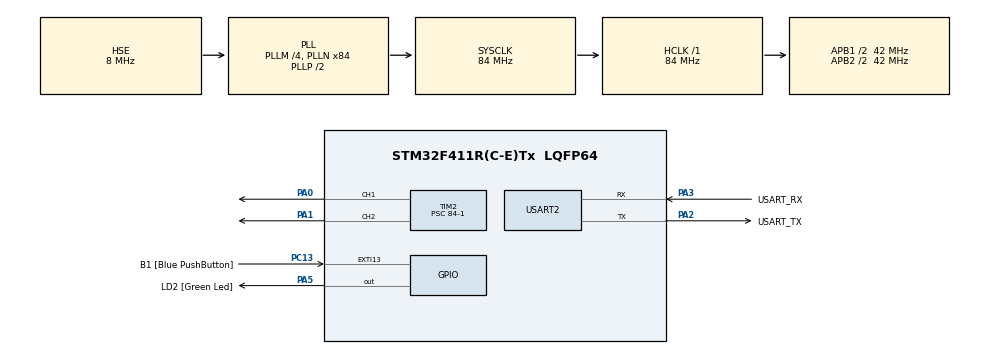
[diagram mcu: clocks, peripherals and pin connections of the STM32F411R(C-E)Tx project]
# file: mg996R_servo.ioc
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Dma.Request0=USART2_RX
Dma.Request1=USART2_TX
Dma.USART2_RX.0.Direction=DMA_PERIPH_TO_MEMORY
Dma.USART2_RX.0.FIFOMode=DMA_FIFOMODE_DISABLE
Dma.USART2_RX.0.Instance=DMA1_Stream5
Dma.USART2_RX.0.MemDataAlignment=DMA_MDATAALIGN_BYTE
Dma.USART2_RX.0.MemInc=DMA_MINC_ENABLE
Dma.USART2_RX.0.Mode=DMA_NORMAL
Dma.USART2_RX.0.PeriphDataAlignment=DMA_PDATAALIGN_BYTE
Dma.USART2_RX.0.PeriphInc=DMA_PINC_DISABLE
Dma.USART2_RX.0.Priority=DMA_PRIORITY_LOW
Dma.USART2_TX.1.Direction=DMA_MEMORY_TO_PERIPH
Dma.USART2_TX.1.FIFOMode=DMA_FIFOMODE_DISABLE
Dma.USART2_TX.1.Instance=DMA1_Stream6
Dma.USART2_TX.1.MemDataAlignment=DMA_MDATAALIGN_BYTE
Dma.USART2_TX.1.MemInc=DMA_MINC_ENABLE
Dma.USART2_TX.1.Mode=DMA_NORMAL
Dma.USART2_TX.1.PeriphDataAlignment=DMA_PDATAALIGN_BYTE
Dma.USART2_TX.1.PeriphInc=DMA_PINC_DISABLE
Dma.USART2_TX.1.Priority=DMA_PRIORITY_LOW
Mcu.Family=STM32F4
Mcu.Name=STM32F411R(C-E)Tx
Mcu.Package=LQFP64
NVIC.DMA1_Stream5_IRQn=true\:0\:0\:false\:false\:true\:false\:true\:true
NVIC.DMA1_Stream6_IRQn=true\:0\:0\:false\:false\:true\:false\:true\:true
NVIC.PriorityGroup=NVIC_PRIORITYGROUP_0
NVIC.USART2_IRQn=true\:0\:0\:false\:false\:true\:true\:true\:true
PA0-WKUP.Signal=S_TIM2_CH1_ETR
PA1.Signal=S_TIM2_CH2
PA13.GPIO_Label=TMS
PA13.Mode=Serial_Wire
PA13.Signal=SYS_JTMS-SWDIO
PA14.GPIO_Label=TCK
PA14.Mode=Serial_Wire
PA14.Signal=SYS_JTCK-SWCLK
PA2.GPIO_Label=USART_TX
PA2.Mode=Asynchronous
PA2.Signal=USART2_TX
PA3.GPIO_Label=USART_RX
PA3.Mode=Asynchronous
PA3.Signal=USART2_RX
PA5.GPIO_Label=LD2 [Green Led]
PA5.Signal=GPIO_Output
PB3.GPIO_Label=SWO
PB3.Signal=SYS_JTDO-SWO
PC13-ANTI_TAMP.GPIO_Label=B1 [Blue PushButton]
PC13-ANTI_TAMP.GPIO_ModeDefaultEXTI=GPIO_MODE_IT_FALLING
PC13-ANTI_TAMP.Signal=GPXTI13
PC14-OSC32_IN.Mode=LSE-External-Oscillator
PC14-OSC32_IN.Signal=RCC_OSC32_IN
PC15-OSC32_OUT.Mode=LSE-External-Oscillator
PC15-OSC32_OUT.Signal=RCC_OSC32_OUT
PH0\ -\ OSC_IN.Mode=HSE-External-Clock-Source
PH0\ -\ OSC_IN.Signal=RCC_OSC_IN
PH1\ -\ OSC_OUT.Mode=HSE-External-Clock-Source
PH1\ -\ OSC_OUT.Signal=RCC_OSC_OUT
ProjectManager.HeapSize=0x200
ProjectManager.StackSize=0x400
ProjectManager.TargetToolchain=STM32CubeIDE
RCC.48MHZClocksFreq_Value=42000000
RCC.AHBFreq_Value=84000000
RCC.APB1CLKDivider=RCC_HCLK_DIV2
RCC.APB1Freq_Value=42000000
RCC.APB1TimFreq_Value=84000000
RCC.APB2CLKDivider=RCC_HCLK_DIV2
RCC.APB2Freq_Value=42000000
RCC.APB2TimFreq_Value=84000000
RCC.CortexFreq_Value=84000000
RCC.FLatency-AdvancedSettings=FLASH_LATENCY_2
RCC.HCLKFreq_Value=84000000
RCC.HSE_VALUE=8000000
RCC.HSI_VALUE=16000000
RCC.PLLM=4
RCC.PLLN=84
RCC.PLLSourceVirtual=RCC_PLLSOURCE_HSE
RCC.SYSCLKFreq_VALUE=84000000
RCC.SYSCLKSource=RCC_SYSCLKSOURCE_PLLCLK
RCC.VCOOutputFreq_Value=168000000
SH.S_TIM2_CH1_ETR.0=TIM2_CH1,PWM Generation1 CH1
SH.S_TIM2_CH2.0=TIM2_CH2,PWM Generation2 CH2
TIM2.AutoReloadPreload=TIM_AUTORELOAD_PRELOAD_ENABLE
TIM2.Channel-PWM\ Generation1\ CH1=TIM_CHANNEL_1
TIM2.Channel-PWM\ Generation2\ CH2=TIM_CHANNEL_2
TIM2.Period=19999
TIM2.Prescaler=84-1
TIM2.Pulse-PWM\ Generation1\ CH1=1500
TIM2.Pulse-PWM\ Generation2\ CH2=1500
USART2.VirtualMode=VM_ASYNC
VP_TIM2_VS_ClockSourceINT.Mode=Internal
board=NUCLEO-F411RE

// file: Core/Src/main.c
/* USER CODE BEGIN Header */
/**
  ******************************************************************************
  * @file           : main.c
  * @brief          : Main program body
  ******************************************************************************
  * @attention
  *
  * Copyright (c) 2025 STMicroelectronics.
  * All rights reserved.
  *
  * This software is licensed under terms that can be found in the LICENSE file
  * in the root directory of this software component.
  * If no LICENSE file comes with this software, it is provided AS-IS.
  *
  ******************************************************************************
  */
/* USER CODE END Header */
#include "main.h"

/* USER CODE BEGIN Includes */
#include <stdio.h>
#include <stdlib.h>
#include <string.h>
/* USER CODE END Includes */

TIM_HandleTypeDef htim2;

UART_HandleTypeDef huart2;
DMA_HandleTypeDef hdma_usart2_rx;
DMA_HandleTypeDef hdma_usart2_tx;

/* USER CODE BEGIN PV */
uint8_t rx_buffer[100];	//수신버퍼
uint8_t tx_buffer[100];	//송신버퍼
volatile int rx_flag = 0;
volatile uint16_t rx_len = 0;	//수신 길이
/* USER CODE END PV */

void SystemClock_Config(void);
static void MX_GPIO_Init(void);
static void MX_DMA_Init(void);
static void MX_USART2_UART_Init(void);
static void MX_TIM2_Init(void);

/* USER CODE BEGIN 0 */
// UART RX 완료 콜백 (DMA 방식)
void HAL_UART_RxCpltCallback(UART_HandleTypeDef *huart)
{
	if(huart->Instance==USART2)
	{
		rx_flag = 1;
		rx_len = 100;  // 전체 버퍼 수신 완료
	}
}

// UART IDLE 라인 콜백 (명령어 끝 감지)
void HAL_UARTEx_RxEventCallback(UART_HandleTypeDef *huart, uint16_t Size)
{
	if(huart->Instance==USART2)
	{
		rx_flag = 1;
		rx_len = Size;  // 실제 수신된 바이트 수
	}
}
/* USER CODE END 0 */

int main(void)
{

  /* MCU Configuration--------------------------------------------------------*/

  /* Reset of all peripherals, Initializes the Flash interface and the Systick. */
  HAL_Init();

  /* Configure the system clock */
  SystemClock_Config();

  /* Initialize all configured peripherals */
  MX_GPIO_Init();
  MX_DMA_Init();
  MX_USART2_UART_Init();
  MX_TIM2_Init();
  /* USER CODE BEGIN 2 */
  HAL_TIM_PWM_Start(&htim2, TIM_CHANNEL_1);
  HAL_TIM_PWM_Start(&htim2, TIM_CHANNEL_2);

  // IDLE 라인 감지를 위한 DMA 수신 시작 (이벤트 콜백 방식)
  HAL_UARTEx_ReceiveToIdle_DMA(&huart2, rx_buffer, sizeof(rx_buffer));
  __HAL_DMA_DISABLE_IT(&hdma_usart2_rx, DMA_IT_HT);  // Half Transfer 인터럽트 비활성화
  /* USER CODE END 2 */

  /* Infinite loop */
  /* USER CODE BEGIN WHILE */
  while (1)
  {
//	 // 하드웨어 테스트: 자동으로 서보 움직임 (UART 명령 대신)
//	 // 테스트 후 이 부분을 주석 처리하고 UART 제어 사용
//	 for(int i = -60;i<= 60;i+=10)
//	 {
//		 TIM2->CCR1 = 1500 + (i*1000)/60;  // Pan 모터
//		 TIM2->CCR2 = 1500 + (i*1000)/60;  // Tilt 모터
//		 HAL_Delay(1000);
//	 }
//	 for(int i = 60;i>= -60;i-=10)
//	 {
//		 TIM2->CCR1 = 1500 + (i*1000)/60;  // Pan 모터
//		 TIM2->CCR2 = 1500 + (i*1000)/60;  // Tilt 모터
//		 HAL_Delay(1000);
//	 }

	 // UART 제어 (하드웨어 테스트 후 이 부분 활성화)
	 if(rx_flag)
	 {
		 //개행문자 제거
		 rx_buffer[rx_len] = '\0';  // NULL 종료
		 char* Del_line_feed = strchr((char*)rx_buffer, '\n');
		 if(Del_line_feed) *Del_line_feed = '\0';
		 char* Del_carriage = strchr((char*)rx_buffer, '\r');
		 if(Del_carriage) *Del_carriage = '\0';

		 if(strncmp((char*)rx_buffer, "PAN:", 4) == 0)
		 {
			 int angle = atoi((char*)rx_buffer+4);	//각도를 숫자로 변환
			 // 각도 범위 제한 (-60 ~ 60)
			 if(angle < -60) angle = -60;
			 if(angle > 60) angle = 60;
			 TIM2->CCR1 = 1500 + (angle*1000)/60; //ccr1 이 팬 모터
		 }
		 else if(strncmp((char*)rx_buffer, "TILT:", 5) == 0)
		 {
			 int angle = atoi((char*)rx_buffer+5);
			 // 각도 범위 제한 (-60 ~ 60)
			 if(angle < -60) angle = -60;
			 if(angle > 60) angle = 60;
			 TIM2->CCR2 = 1500 + (angle*1000)/60; //ccr2 이 틸트 모터
		 }
		 else if(strncmp((char*)rx_buffer, "PANTILT:", 8) == 0)
		 {
			 int pan_angle, tilt_anlge;
			 if(sscanf((char*)rx_buffer+8, "%d,%d", &pan_angle, &tilt_anlge) == 2)
			 {
				 // 각도 범위 제한 (-60 ~ 60)
				 if(pan_angle < -60) pan_angle = -60;
				 if(pan_angle > 60) pan_angle = 60;
				 if(tilt_anlge < -60) tilt_anlge = -60;
				 if(tilt_anlge > 60) tilt_anlge = 60;
				 TIM2->CCR1 = 1500 + (pan_angle*1000)/60; //ccr1 이 팬 모터
				 TIM2->CCR2 = 1500 + (tilt_anlge*1000)/60; //ccr2 이 틸트 모터
			 }
		 }
		 else if(strcmp((char*)rx_buffer, "CENTER") == 0)
		 {
			 TIM2->CCR1 = 1500 + (0*1000)/60; //ccr1 이 팬 모터
			 TIM2->CCR2 = 1500 + (0*1000)/60; //ccr2 이 틸트 모터
		 }
		 else if(strcmp((char*)rx_buffer, "STOP") == 0)
		 {
			 TIM2->CCR1 = 1500 + (0*1000)/60; //ccr1 이 팬 모터
			 TIM2->CCR2 = 1500 + (0*1000)/60; //ccr2 이 틸트 모터
		 }

		 // 버퍼 초기화 및 다음 수신 대기
		 memset(rx_buffer, 0, sizeof(rx_buffer));
		 rx_flag = 0;
		 rx_len = 0;
		 HAL_UARTEx_ReceiveToIdle_DMA(&huart2, rx_buffer, sizeof(rx_buffer));
		 __HAL_DMA_DISABLE_IT(&hdma_usart2_rx, DMA_IT_HT);  // Half Transfer 인터럽트 비활성화
	 }
    /* USER CODE END WHILE */

  }
}

void SystemClock_Config(void)
{
  RCC_OscInitTypeDef RCC_OscInitStruct = {0};
  RCC_ClkInitTypeDef RCC_ClkInitStruct = {0};

  /** Configure the main internal regulator output voltage
  */
  __HAL_RCC_PWR_CLK_ENABLE();
  __HAL_PWR_VOLTAGESCALING_CONFIG(PWR_REGULATOR_VOLTAGE_SCALE1);

  /** Initializes the RCC Oscillators according to the specified parameters
  * in the RCC_OscInitTypeDef structure.
  */
  RCC_OscInitStruct.OscillatorType = RCC_OSCILLATORTYPE_HSE;
  RCC_OscInitStruct.HSEState = RCC_HSE_BYPASS;
  RCC_OscInitStruct.PLL.PLLState = RCC_PLL_ON;
  RCC_OscInitStruct.PLL.PLLSource = RCC_PLLSOURCE_HSE;
  RCC_OscInitStruct.PLL.PLLM = 4;
  RCC_OscInitStruct.PLL.PLLN = 84;
  RCC_OscInitStruct.PLL.PLLP = RCC_PLLP_DIV2;
  RCC_OscInitStruct.PLL.PLLQ = 4;
  if (HAL_RCC_OscConfig(&RCC_OscInitStruct) != HAL_OK)
  {
    Error_Handler();
  }

  /** Initializes the CPU, AHB and APB buses clocks
  */
  RCC_ClkInitStruct.ClockType = RCC_CLOCKTYPE_HCLK|RCC_CLOCKTYPE_SYSCLK
                              |RCC_CLOCKTYPE_PCLK1|RCC_CLOCKTYPE_PCLK2;
  RCC_ClkInitStruct.SYSCLKSource = RCC_SYSCLKSOURCE_PLLCLK;
  RCC_ClkInitStruct.AHBCLKDivider = RCC_SYSCLK_DIV1;
  RCC_ClkInitStruct.APB1CLKDivider = RCC_HCLK_DIV2;
  RCC_ClkInitStruct.APB2CLKDivider = RCC_HCLK_DIV2;

  if (HAL_RCC_ClockConfig(&RCC_ClkInitStruct, FLASH_LATENCY_2) != HAL_OK)
  {
    Error_Handler();
  }
}

static void MX_TIM2_Init(void)
{

  TIM_ClockConfigTypeDef sClockSourceConfig = {0};
  TIM_MasterConfigTypeDef sMasterConfig = {0};
  TIM_OC_InitTypeDef sConfigOC = {0};

  htim2.Instance = TIM2;
  htim2.Init.Prescaler = 84-1;
  htim2.Init.CounterMode = TIM_COUNTERMODE_UP;
  htim2.Init.Period = 19999;
  htim2.Init.ClockDivision = TIM_CLOCKDIVISION_DIV1;
  htim2.Init.AutoReloadPreload = TIM_AUTORELOAD_PRELOAD_ENABLE;
  if (HAL_TIM_Base_Init(&htim2) != HAL_OK)
  {
    Error_Handler();
  }
  sClockSourceConfig.ClockSource = TIM_CLOCKSOURCE_INTERNAL;
  if (HAL_TIM_ConfigClockSource(&htim2, &sClockSourceConfig) != HAL_OK)
  {
    Error_Handler();
  }
  if (HAL_TIM_PWM_Init(&htim2) != HAL_OK)
  {
    Error_Handler();
  }
  sMasterConfig.MasterOutputTrigger = TIM_TRGO_RESET;
  sMasterConfig.MasterSlaveMode = TIM_MASTERSLAVEMODE_DISABLE;
  if (HAL_TIMEx_MasterConfigSynchronization(&htim2, &sMasterConfig) != HAL_OK)
  {
    Error_Handler();
  }
  sConfigOC.OCMode = TIM_OCMODE_PWM1;
  sConfigOC.Pulse = 1500;
  sConfigOC.OCPolarity = TIM_OCPOLARITY_HIGH;
  sConfigOC.OCFastMode = TIM_OCFAST_DISABLE;
  if (HAL_TIM_PWM_ConfigChannel(&htim2, &sConfigOC, TIM_CHANNEL_1) != HAL_OK)
  {
    Error_Handler();
  }
  if (HAL_TIM_PWM_ConfigChannel(&htim2, &sConfigOC, TIM_CHANNEL_2) != HAL_OK)
  {
    Error_Handler();
  }
  HAL_TIM_MspPostInit(&htim2);

}

static void MX_USART2_UART_Init(void)
{

  huart2.Instance = USART2;
  huart2.Init.BaudRate = 115200;
  huart2.Init.WordLength = UART_WORDLENGTH_8B;
  huart2.Init.StopBits = UART_STOPBITS_1;
  huart2.Init.Parity = UART_PARITY_NONE;
  huart2.Init.Mode = UART_MODE_TX_RX;
  huart2.Init.HwFlowCtl = UART_HWCONTROL_NONE;
  huart2.Init.OverSampling = UART_OVERSAMPLING_16;
  if (HAL_UART_Init(&huart2) != HAL_OK)
  {
    Error_Handler();
  }

}

static void MX_DMA_Init(void)
{

  /* DMA controller clock enable */
  __HAL_RCC_DMA1_CLK_ENABLE();

  /* DMA interrupt init */
  /* DMA1_Stream5_IRQn interrupt configuration */
  HAL_NVIC_SetPriority(DMA1_Stream5_IRQn, 0, 0);
  HAL_NVIC_EnableIRQ(DMA1_Stream5_IRQn);
  /* DMA1_Stream6_IRQn interrupt configuration */
  HAL_NVIC_SetPriority(DMA1_Stream6_IRQn, 0, 0);
  HAL_NVIC_EnableIRQ(DMA1_Stream6_IRQn);

}

static void MX_GPIO_Init(void)
{
  GPIO_InitTypeDef GPIO_InitStruct = {0};

  /* GPIO Ports Clock Enable */
  __HAL_RCC_GPIOC_CLK_ENABLE();
  __HAL_RCC_GPIOH_CLK_ENABLE();
  __HAL_RCC_GPIOA_CLK_ENABLE();
  __HAL_RCC_GPIOB_CLK_ENABLE();

  /*Configure GPIO pin Output Level */
  HAL_GPIO_WritePin(LD2_GPIO_Port, LD2_Pin, GPIO_PIN_RESET);

  /*Configure GPIO pin : B1_Pin */
  GPIO_InitStruct.Pin = B1_Pin;
  GPIO_InitStruct.Mode = GPIO_MODE_IT_FALLING;
  GPIO_InitStruct.Pull = GPIO_NOPULL;
  HAL_GPIO_Init(B1_GPIO_Port, &GPIO_InitStruct);

  /*Configure GPIO pin : LD2_Pin */
  GPIO_InitStruct.Pin = LD2_Pin;
  GPIO_InitStruct.Mode = GPIO_MODE_OUTPUT_PP;
  GPIO_InitStruct.Pull = GPIO_NOPULL;
  GPIO_InitStruct.Speed = GPIO_SPEED_FREQ_LOW;
  HAL_GPIO_Init(LD2_GPIO_Port, &GPIO_InitStruct);

}

void Error_Handler(void)
{
  __disable_irq();
  while (1)
  {
  }
}
